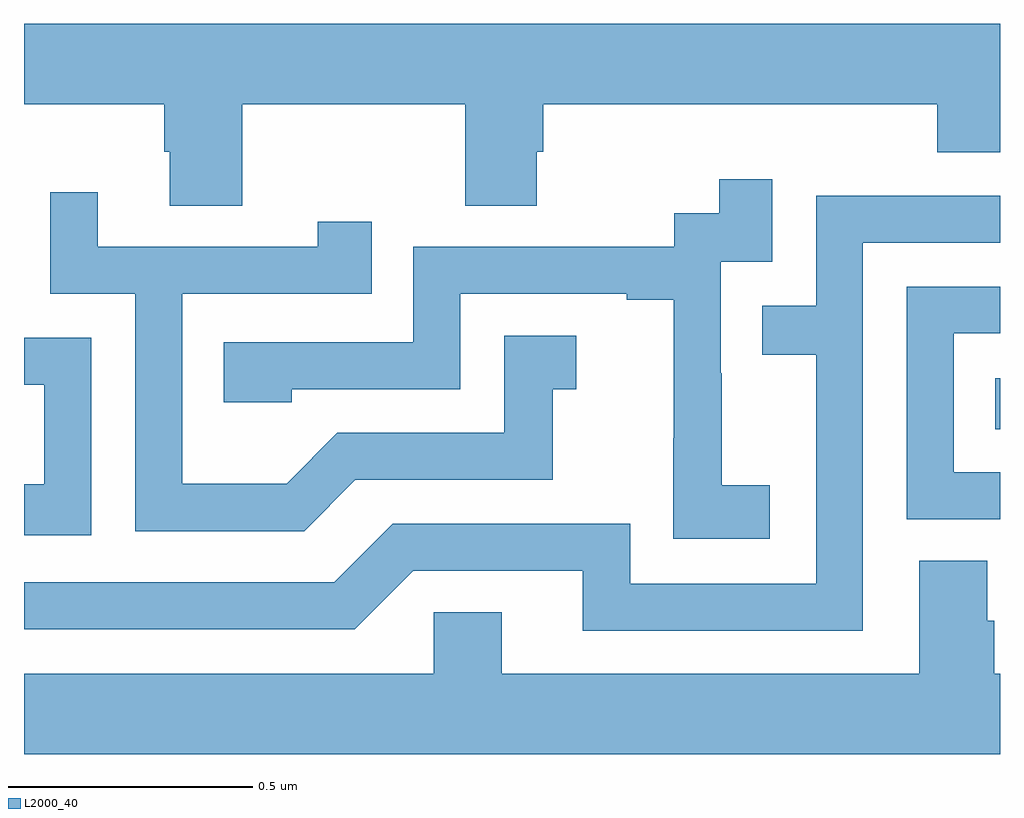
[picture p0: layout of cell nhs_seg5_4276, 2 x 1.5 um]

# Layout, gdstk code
import gdstk
lib = gdstk.Library(unit=1e-6, precision=1e-09)
def R(c, l, rs):  # rectangles x0, y0, x1, y1
    for r in rs: c.add(gdstk.rectangle(r[:2], r[2:], *l))
def P(c, l, *ps):  # polygons
    for p in ps: c.add(gdstk.Polygon(p, *l))
L2000_40 = (2000, 40)

nhs_seg5_4276 = lib.new_cell('nhs_seg5_4276')
R(nhs_seg5_4276, L2000_40, [(169.99,902.714,170,902.818)])
P(nhs_seg5_4276, L2000_40, [(168.447,903.38),(168.904,903.38),(168.904,903.172),(169.051,903.172),(169.051,903.282),(169.064,903.282),(169.064,903.38),(169.871,903.38),(169.871,903.281),(170,903.281),(170,903.544),(168,903.544),(168,903.38),(168.287,903.38),(168.287,903.282),(168.299,903.282),(168.299,903.172),(168.447,903.172)],
  [(169.528,902.599),(169.43,902.599),(169.43,902.828),(169.428,902.828),(169.428,903.057),(169.533,903.057),(169.533,903.226),(169.425,903.226),(169.425,903.156),(169.332,903.156),(169.332,903.087),(168.798,903.087),(168.798,902.892),(168.409,902.892),(168.409,902.769),(168.549,902.769),(168.549,902.796),(168.894,902.796),(168.894,902.991),(169.235,902.991),(169.235,902.979),(169.331,902.979),(169.331,902.695),(169.33,902.695),(169.33,902.489),(169.528,902.489)],
  [(168.679,902.61),(169.083,902.61),(169.083,902.795),(169.132,902.795),(169.132,902.905),(168.984,902.905),(168.984,902.706),(168.642,902.706),(168.538,902.602),(168.324,902.602),(168.324,902.991),(168.713,902.991),(168.713,903.139),(168.602,903.139),(168.602,903.087),(168.151,903.087),(168.151,903.199),(168.054,903.199),(168.054,902.991),(168.228,902.991),(168.228,902.505),(168.574,902.505)],
  [(169.719,903.096),(170,903.096),(170,903.192),(169.623,903.192),(169.623,902.967),(169.513,902.967),(169.513,902.866),(169.623,902.866),(169.623,902.397),(169.242,902.397),(169.242,902.52),(168.756,902.52),(168.636,902.4),(168,902.4),(168,902.304),(168.678,902.304),(168.798,902.424),(169.145,902.424),(169.145,902.301),(169.719,902.301)],
  [(170,902.625),(169.905,902.625),(169.905,902.91),(170,902.91),(170,903.006),(169.809,903.006),(169.809,902.529),(170,902.529)],
  [(168.138,902.901),(168,902.901),(168,902.805),(168.041,902.805),(168.041,902.601),(168,902.601),(168,902.496),(168.138,902.496)],
  [(170,902.212),(169.988,902.212),(169.988,902.321),(169.974,902.321),(169.974,902.444),(169.835,902.444),(169.835,902.212),(168.979,902.212),(168.979,902.339),(168.84,902.339),(168.84,902.212),(168,902.212),(168,902.048),(170,902.048)])

lib.write_gds('nhs_seg5_4276.gds')
